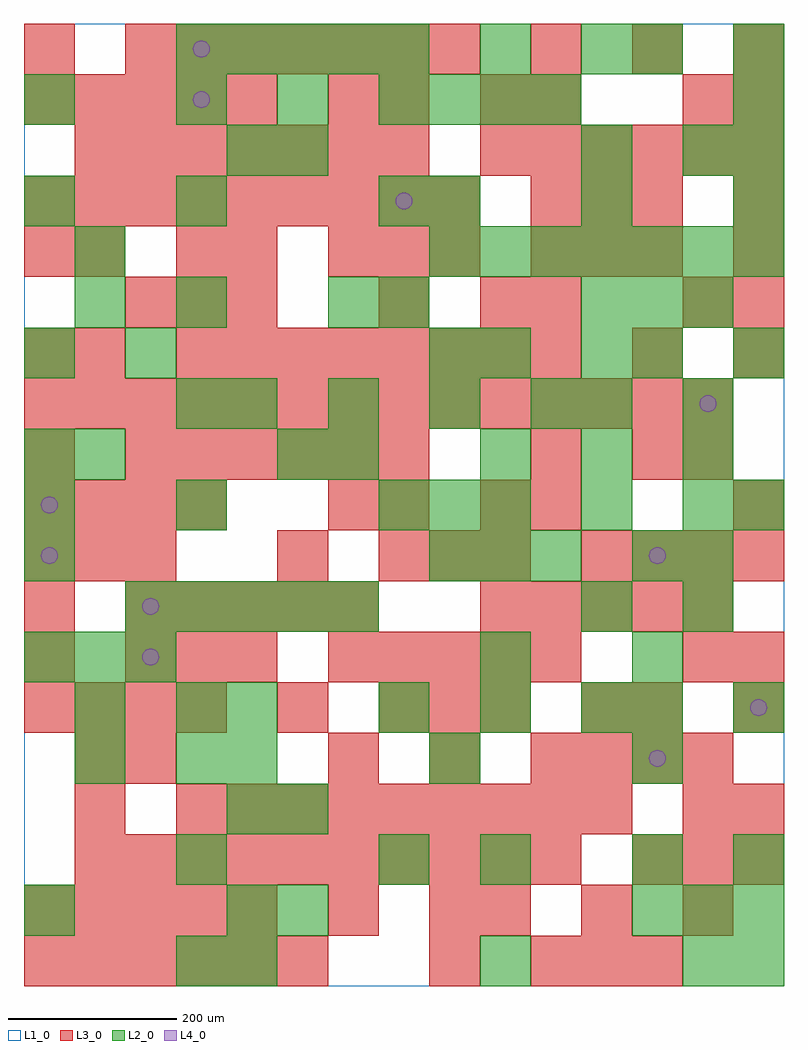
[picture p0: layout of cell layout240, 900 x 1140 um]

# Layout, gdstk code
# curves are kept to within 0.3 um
import gdstk
lib = gdstk.Library(unit=1e-6, precision=1e-09)
def R(c, l, rs):  # rectangles x0, y0, x1, y1
    for r in rs: c.add(gdstk.rectangle(r[:2], r[2:], *l))
def A(c, l, x, y, w, h, nx, ny, dx, dy):  # array of equal rectangles
    R(c, l, [(x+i*dx, y+j*dy, x+i*dx+w, y+j*dy+h) for i in range(nx) for j in range(ny)])
def P(c, l, *ps):  # polygons
    for p in ps: c.add(gdstk.Polygon(p, *l))
L1_0 = (1, 0)
L2_0 = (2, 0)
L3_0 = (3, 0)
L4_0 = (4, 0)

layout240 = lib.new_cell('layout240')
R(layout240, L1_0, [(0,0,900,1140)])
A(layout240, L2_0, 180, 0, 60, 60, 1, 3, 0, 120)
A(layout240, L2_0, 240, 60, 60, 60, 1, 3, 0, 120)
A(layout240, L2_0, 720, 60, 60, 60, 3, 1, 60, 0)
A(layout240, L2_0, 240, 240, 60, 60, 3, 1, 240, 0)
A(layout240, L2_0, 420, 300, 60, 60, 3, 1, 120, 0)
A(layout240, L2_0, 0, 360, 60, 60, 3, 1, 60, 0)
A(layout240, L2_0, 540, 360, 60, 60, 1, 3, 0, 360)
A(layout240, L2_0, 120, 420, 60, 60, 5, 1, 60, 0)
A(layout240, L2_0, 660, 420, 60, 60, 1, 3, 0, 120)
A(layout240, L2_0, 780, 420, 60, 60, 1, 3, 0, 60)
A(layout240, L2_0, 0, 480, 60, 60, 1, 3, 0, 60)
A(layout240, L2_0, 480, 480, 60, 60, 3, 2, 60, 540)
A(layout240, L2_0, 180, 540, 60, 60, 1, 4, 0, 120)
A(layout240, L2_0, 420, 540, 60, 60, 3, 1, 60, 0)
A(layout240, L2_0, 540, 600, 60, 60, 3, 1, 120, 0)
A(layout240, L2_0, 240, 660, 60, 60, 4, 1, 120, 0)
A(layout240, L2_0, 660, 780, 60, 60, 3, 1, 60, 0)
A(layout240, L2_0, 480, 840, 60, 60, 7, 1, 60, 0)
A(layout240, L2_0, 480, 900, 60, 60, 3, 1, 180, 0)
A(layout240, L2_0, 840, 960, 60, 60, 1, 3, 0, 60)
A(layout240, L2_0, 180, 1020, 60, 60, 3, 1, 120, 0)
A(layout240, L2_0, 180, 1080, 60, 60, 5, 1, 60, 0)
R(layout240, L2_0, [(240,0,300,60), (540,0,600,60), (780,0,840,60), (840,0,900,60), (0,60,60,120), (300,60,360,120), (420,120,480,180), (540,120,600,180), (720,120,780,180), (840,120,900,180), (300,180,360,240), (60,240,120,300), (60,300,120,360), (180,300,240,360), (720,300,780,360), (840,300,900,360), (720,360,780,420), (720,480,780,540), (840,540,900,600), (60,600,120,660), (300,600,360,660), (360,600,420,660), (780,660,840,720), (0,720,60,780), (120,720,180,780), (480,720,540,780), (660,720,720,780), (720,720,780,780), (840,720,900,780), (60,780,120,840), (360,780,420,840), (420,780,480,840), (60,840,120,900), (0,900,60,960), (420,900,480,960), (240,960,300,1020), (300,960,360,1020), (660,960,720,1020), (780,960,840,1020), (0,1020,60,1080), (660,1080,720,1140), (720,1080,780,1140)])
A(layout240, L3_0, 0, 0, 60, 60, 6, 1, 60, 0)
A(layout240, L3_0, 600, 0, 60, 60, 3, 2, 60, 840)
A(layout240, L3_0, 0, 60, 60, 60, 5, 2, 60, 960)
A(layout240, L3_0, 360, 60, 60, 60, 1, 3, 0, 480)
A(layout240, L3_0, 540, 60, 60, 60, 3, 1, 120, 0)
A(layout240, L3_0, 60, 120, 60, 60, 10, 1, 60, 0)
A(layout240, L3_0, 720, 120, 60, 60, 3, 1, 60, 0)
A(layout240, L3_0, 180, 180, 60, 60, 9, 1, 60, 0)
A(layout240, L3_0, 360, 240, 60, 60, 3, 1, 120, 0)
A(layout240, L3_0, 660, 240, 60, 60, 3, 1, 60, 0)
A(layout240, L3_0, 0, 300, 60, 60, 4, 2, 60, 240)
A(layout240, L3_0, 420, 300, 60, 60, 3, 2, 60, 180)
A(layout240, L3_0, 120, 360, 60, 60, 3, 2, 60, 420)
A(layout240, L3_0, 360, 360, 60, 60, 5, 1, 60, 0)
A(layout240, L3_0, 840, 360, 60, 60, 1, 3, 0, 180)
A(layout240, L3_0, 120, 420, 60, 60, 5, 1, 60, 0)
A(layout240, L3_0, 540, 420, 60, 60, 5, 1, 60, 0)
A(layout240, L3_0, 0, 480, 60, 60, 3, 1, 60, 0)
A(layout240, L3_0, 660, 480, 60, 60, 4, 1, 60, 0)
A(layout240, L3_0, 420, 540, 60, 60, 1, 3, 0, 240)
A(layout240, L3_0, 540, 540, 60, 60, 1, 3, 0, 240)
A(layout240, L3_0, 0, 600, 60, 60, 1, 3, 0, 120)
A(layout240, L3_0, 120, 600, 60, 60, 6, 1, 60, 0)
A(layout240, L3_0, 0, 660, 60, 60, 14, 1, 60, 0)
A(layout240, L3_0, 180, 720, 60, 60, 8, 1, 60, 0)
A(layout240, L3_0, 840, 780, 60, 60, 1, 3, 0, 60)
A(layout240, L3_0, 360, 840, 60, 60, 3, 1, 60, 0)
A(layout240, L3_0, 0, 900, 60, 60, 9, 1, 60, 0)
A(layout240, L3_0, 600, 900, 60, 60, 3, 1, 60, 0)
A(layout240, L3_0, 60, 960, 60, 60, 7, 1, 60, 0)
A(layout240, L3_0, 540, 960, 60, 60, 6, 1, 60, 0)
A(layout240, L3_0, 120, 1080, 60, 60, 7, 1, 60, 0)
A(layout240, L3_0, 600, 1080, 60, 60, 3, 1, 120, 0)
R(layout240, L3_0, [(480,0,540,60), (480,60,540,120), (60,180,120,240), (780,180,840,240), (840,180,900,240), (60,240,120,300), (120,240,180,300), (300,300,360,360), (660,300,720,360), (720,300,780,360), (840,300,900,360), (0,360,60,420), (780,360,840,420), (0,420,60,480), (300,480,360,540), (600,540,660,600), (600,600,660,660), (720,600,780,660), (780,600,840,660), (60,720,120,780), (720,720,780,780), (600,780,660,840), (780,780,840,840), (60,840,120,900), (180,840,240,900), (240,840,300,900), (600,1020,660,1080), (780,1020,840,1080), (840,1020,900,1080), (0,1080,60,1140)])
P(layout240, L4_0, [(40,510),(39.239,513.827),(37.071,517.071),(33.827,519.239),(30,520),(26.173,519.239),(22.929,517.071),(20.761,513.827),(20,510),(20.761,506.173),(22.929,502.929),(26.173,500.761),(30,500),(33.827,500.761),(37.071,502.929),(39.239,506.173)],
  [(40,570),(39.239,573.827),(37.071,577.071),(33.827,579.239),(30,580),(26.173,579.239),(22.929,577.071),(20.761,573.827),(20,570),(20.761,566.173),(22.929,562.929),(26.173,560.761),(30,560),(33.827,560.761),(37.071,562.929),(39.239,566.173)],
  [(160,390),(159.239,393.827),(157.071,397.071),(153.827,399.239),(150,400),(146.173,399.239),(142.929,397.071),(140.761,393.827),(140,390),(140.761,386.173),(142.929,382.929),(146.173,380.761),(150,380),(153.827,380.761),(157.071,382.929),(159.239,386.173)],
  [(160,450),(159.239,453.827),(157.071,457.071),(153.827,459.239),(150,460),(146.173,459.239),(142.929,457.071),(140.761,453.827),(140,450),(140.761,446.173),(142.929,442.929),(146.173,440.761),(150,440),(153.827,440.761),(157.071,442.929),(159.239,446.173)],
  [(220,1050),(219.239,1053.827),(217.071,1057.071),(213.827,1059.239),(210,1060),(206.173,1059.239),(202.929,1057.071),(200.761,1053.827),(200,1050),(200.761,1046.173),(202.929,1042.929),(206.173,1040.761),(210,1040),(213.827,1040.761),(217.071,1042.929),(219.239,1046.173)],
  [(220,1110),(219.239,1113.827),(217.071,1117.071),(213.827,1119.239),(210,1120),(206.173,1119.239),(202.929,1117.071),(200.761,1113.827),(200,1110),(200.761,1106.173),(202.929,1102.929),(206.173,1100.761),(210,1100),(213.827,1100.761),(217.071,1102.929),(219.239,1106.173)],
  [(460,930),(459.239,933.827),(457.071,937.071),(453.827,939.239),(450,940),(446.173,939.239),(442.929,937.071),(440.761,933.827),(440,930),(440.761,926.173),(442.929,922.929),(446.173,920.761),(450,920),(453.827,920.761),(457.071,922.929),(459.239,926.173)],
  [(760,270),(759.239,273.827),(757.071,277.071),(753.827,279.239),(750,280),(746.173,279.239),(742.929,277.071),(740.761,273.827),(740,270),(740.761,266.173),(742.929,262.929),(746.173,260.761),(750,260),(753.827,260.761),(757.071,262.929),(759.239,266.173)],
  [(760,510),(759.239,513.827),(757.071,517.071),(753.827,519.239),(750,520),(746.173,519.239),(742.929,517.071),(740.761,513.827),(740,510),(740.761,506.173),(742.929,502.929),(746.173,500.761),(750,500),(753.827,500.761),(757.071,502.929),(759.239,506.173)],
  [(820,690),(819.239,693.827),(817.071,697.071),(813.827,699.239),(810,700),(806.173,699.239),(802.929,697.071),(800.761,693.827),(800,690),(800.761,686.173),(802.929,682.929),(806.173,680.761),(810,680),(813.827,680.761),(817.071,682.929),(819.239,686.173)],
  [(880,330),(879.239,333.827),(877.071,337.071),(873.827,339.239),(870,340),(866.173,339.239),(862.929,337.071),(860.761,333.827),(860,330),(860.761,326.173),(862.929,322.929),(866.173,320.761),(870,320),(873.827,320.761),(877.071,322.929),(879.239,326.173)])

lib.write_gds('layout240.gds')
